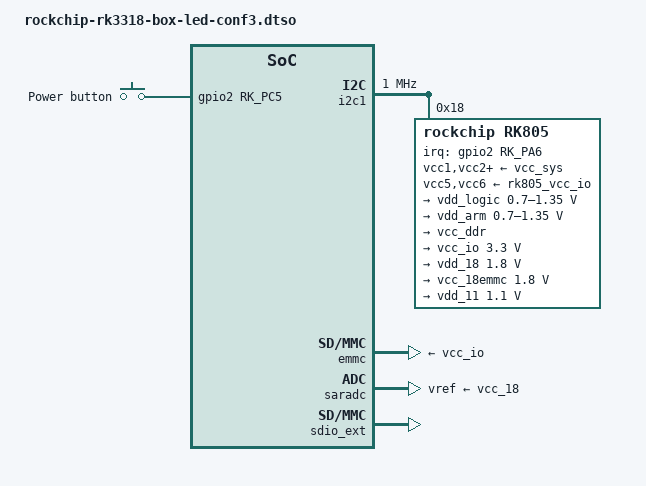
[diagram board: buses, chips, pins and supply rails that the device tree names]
/dts-v1/;
/plugin/;

#include <dt-bindings/gpio/gpio.h>
#include <dt-bindings/input/input.h>
#include <dt-bindings/pinctrl/rockchip.h>
#include <dt-bindings/interrupt-controller/irq.h>

&{/regulators/regulator@0} {
	status = "disabled";
};

&{/regulators/regulator@1} {
	status = "disabled";
};

&{/vdd-arm} {
	status = "disabled";
};

&{/vdd-log} {
	status = "disabled";
};

&{/xin32k} {
	status = "disabled";
};

&i2c1 {
	#address-cells = <1>;
	#size-cells = <0>;

	clock-frequency = <1000000>;
	i2c-scl-rising-time-ns = <83>;
	i2c-scl-falling-time-ns = <5>;
	status = "okay";

	rk805: rk805@18 {
		compatible = "rockchip,rk805";
		reg = <0x18>;
		status = "okay";

		gpio-controller;
		#gpio-cells = <2>;

		interrupt-parent = <&gpio2>;
		interrupts = <RK_PA6 IRQ_TYPE_LEVEL_LOW>;

		pinctrl-names = "default";
		pinctrl-0 = <&pmic_int_l>;

		rockchip,system-power-controller;
		wakeup-source;

		#clock-cells = <1>;
		clock-output-names = "xin32k", "rk805-clkout2";

		vcc1-supply = <&vcc_sys>;
		vcc2-supply = <&vcc_sys>;
		vcc3-supply = <&vcc_sys>;
		vcc4-supply = <&vcc_sys>;
		vcc5-supply = <&rk805_vcc_io>;
		vcc6-supply = <&rk805_vcc_io>;

		rtc {
			status = "okay";
		};

		pwrkey {
			status = "okay";
		};

		gpio {
			status = "okay";
		};

		regulators {
			compatible = "rk805-regulator";
			status = "okay";
			#address-cells = <1>;
			#size-cells = <0>;

			vdd_logic: DCDC_REG1 {
				regulator-name = "vdd_logic";
				regulator-min-microvolt = <700000>;
				regulator-max-microvolt = <1350000>;
				regulator-ramp-delay = <12500>;
				regulator-boot-on;
				regulator-always-on;
				regulator-state-mem {
					regulator-on-in-suspend;
					regulator-suspend-microvolt = <1000000>;
				};
			};

			vdd_arm: DCDC_REG2 {
				regulator-name = "vdd_arm";
				regulator-min-microvolt = <700000>;
				regulator-max-microvolt = <1350000>;
				regulator-ramp-delay = <12500>;
				regulator-boot-on;
				regulator-always-on;
				regulator-state-mem {
					regulator-on-in-suspend;
					regulator-suspend-microvolt = <950000>;
				};
			};

			vcc_ddr: DCDC_REG3 {
				regulator-name = "vcc_ddr";
				regulator-boot-on;
				regulator-always-on;
				regulator-state-mem {
					regulator-on-in-suspend;
				};
			};

			vcc_io: rk805_vcc_io: DCDC_REG4 {
				regulator-name = "vccio_3v3";
				regulator-min-microvolt = <3300000>;
				regulator-max-microvolt = <3300000>;
				regulator-boot-on;
				regulator-always-on;
				regulator-state-mem {
					regulator-on-in-suspend;
					regulator-suspend-microvolt = <3300000>;
				};
			};

			vdd_18: vcc_18: LDO_REG1 {
				regulator-name = "vccio_1v8";
				regulator-min-microvolt = <1800000>;
				regulator-max-microvolt = <1800000>;
				regulator-boot-on;
				regulator-always-on;
				regulator-state-mem {
					regulator-on-in-suspend;
					regulator-suspend-microvolt = <1800000>;
				};
			};

			vcc_18emmc: LDO_REG2 {
				regulator-name = "vcc_18emmc";
				regulator-min-microvolt = <1800000>;
				regulator-max-microvolt = <1800000>;
				regulator-boot-on;
				regulator-always-on;
				regulator-state-mem {
					regulator-on-in-suspend;
					regulator-suspend-microvolt = <1800000>;
				};
			};

			vdd_11: LDO_REG3 {
				regulator-name = "vdd_11";
				regulator-min-microvolt = <1100000>;
				regulator-max-microvolt = <1100000>;
				regulator-boot-on;
				regulator-always-on;
				regulator-state-mem {
					regulator-on-in-suspend;
					regulator-suspend-microvolt = <1100000>;
				};
			};
		};
	};

};

&pinctrl {

	leds {
		ir_led: ir-led {
			rockchip,pins = <2 RK_PC2 RK_FUNC_GPIO &pcfg_pull_none>;
		};
	};

};

&gpio_led {

	pinctrl-names = "default";
	pinctrl-0 = <&ir_led>;

	working {
		gpios = <&rk805 0 GPIO_ACTIVE_LOW>;
		linux,default-trigger = "mmc2";
		default-state = "off";
		mode = <35>;
	};

	/*
	 * These leds are described in the original dtb, but are not present on the board
	auxiliary {
		gpios = <&rk805 1 GPIO_ACTIVE_LOW>;
		linux,default-trigger = "mmc2";
		default-state = "off";
		mode = <5>;
	};

	ir {
		gpios = <&gpio2 RK_PC2 GPIO_ACTIVE_LOW>;
		linux,default-trigger = "ir";
		default-state = "off";
		mode = <0>;
	};
	*/

};

&io_domains {
	vccio1-supply = <&vcc_io>;
	vccio2-supply = <&vcc_18emmc>;
	vccio3-supply = <&vcc_io>;
	vccio4-supply = <&vdd_18>;
	vccio5-supply = <&vcc_io>;
	vccio6-supply = <&vcc_io>;
	pmuio-supply = <&vcc_io>;
};

&{/} {
	gpio_keys: gpio-keys {
		compatible = "gpio-keys";

		power {
			label = "Power button";
			linux,code = <KEY_POWER>;
			gpios = <&gpio2 RK_PC5 GPIO_ACTIVE_HIGH>;
		};
	};
};

&dmc {
	center-supply = <&vdd_logic>;
};

&gpu {
	mali-supply = <&vdd_logic>;
};

&vpu {
	vcodec-supply = <&vdd_logic>;
};

&cpu0 {
	cpu-supply = <&vdd_arm>;
};

&cpu1 {
	cpu-supply = <&vdd_arm>;
};

&cpu2 {
	cpu-supply = <&vdd_arm>;
};

&cpu3 {
	cpu-supply = <&vdd_arm>;
};


&vcc_sd {
	vin-supply = <&vcc_io>;
};

&emmc {
	vmmc-supply = <&vcc_io>;
	vqmmc-supply = <&vcc_18emmc>;
};

&saradc {
	vref-supply = <&vcc_18>;
};

&pwm0 {
	status = "disabled";
};

&pwm1 {
	status = "disabled";
};

/*
 * Following section enables the sdio bus on sdmmc_ext controller
 */
&sdio {
	/delete-property/ mmc-pwrseq;
	status = "disabled";
};

&sdio_ext {
	rockchip,default-sample-phase = <112>; // Allows ssv6051 chips to be detected at 50 MHz
	sd-uhs-sdr50;
	mmc-pwrseq = <&sdio_pwrseq>;
	status = "okay";
};

&sdmmc_ext {
	status = "disabled";
};

&spdif {
	pinctrl-0 = <&spdifm1_tx>;
};

